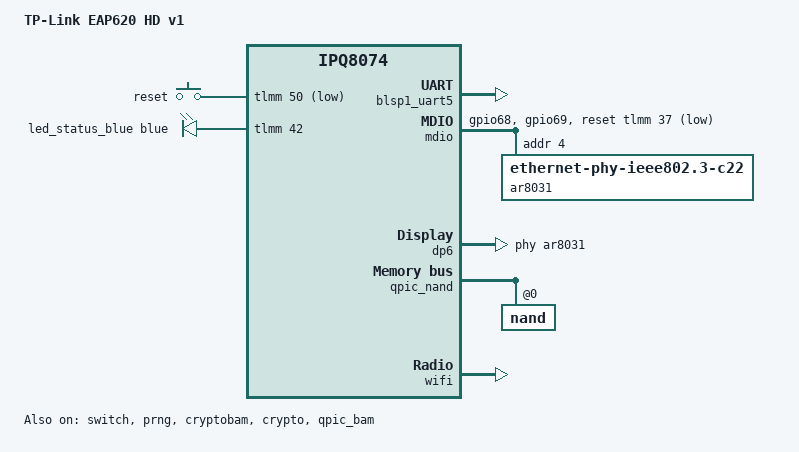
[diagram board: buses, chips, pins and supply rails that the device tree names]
// SPDX-License-Identifier: GPL-2.0-or-later OR BSD-2-Clause

/dts-v1/;

#include "ipq8074.dtsi"
#include "ipq8074-hk-cpu.dtsi"
#include "ipq8074-ess.dtsi"
#include <dt-bindings/leds/common.h>
#include <dt-bindings/input/input.h>
#include <dt-bindings/gpio/gpio.h>

/ {
	model = "TP-Link EAP620 HD v1";
	compatible = "tplink,eap620hd-v1", "qcom,ipq8074";

	aliases {
		serial0 = &blsp1_uart5;
		led-boot = &led_status_blue;
		led-failsafe = &led_status_blue;
		led-running = &led_status_blue;
		led-upgrade = &led_status_blue;
	};

	chosen {
		stdout-path = "serial0,115200n8";
		bootargs-append = " root=/dev/ubiblock0_1";
	};

	keys {
		compatible = "gpio-keys";

		reset {
			label = "reset";
			gpios = <&tlmm 50 GPIO_ACTIVE_LOW>;
			linux,code = <KEY_RESTART>;
		};
	};

	leds {
		compatible = "gpio-leds";

		led_status_blue: status-blue {
			function = LED_FUNCTION_STATUS;
			gpios = <&tlmm 42 GPIO_ACTIVE_HIGH>;
			color = <LED_COLOR_ID_BLUE>;
		};
	};
};

&blsp1_uart5 {
	status = "okay";
};

&tlmm {
	mdio_pins: mdio-pins {
		mdc {
			pins = "gpio68";
			function = "mdc";
			drive-strength = <8>;
			bias-pull-up;
		};

		mdio {
			pins = "gpio69";
			function = "mdio";
			drive-strength = <8>;
			bias-pull-up;
		};
	};
};

&mdio {
	status = "okay";
	#size-cells = <1>;
	pinctrl-0 = <&mdio_pins>;
	pinctrl-names = "default";
	reset-gpios = <&tlmm 37 GPIO_ACTIVE_LOW>;
	
	ar8031: ethernet-phy@4 {
		compatible = "ethernet-phy-ieee802.3-c22";
		reg = <4>;
	};
};

&dp6 {
	status = "okay";
	phy-handle = <&ar8031>;
	label = "lan";
};

&switch {
	status = "okay";
	switch_lan_bmp = <ESS_PORT6>;
	switch_mac_mode2 = <MAC_MODE_SGMII_CHANNEL0>;

	qcom,port_phyinfo {
		port@6 {
			phy_address = <4>;
			port_id = <6>;
		};
	};
};

&edma {
	status = "okay";
};

&prng {
	status = "okay";
};

&cryptobam {
	status = "okay";
};

&crypto {
	status = "okay";
};

&qpic_bam {
	status = "okay";
};

&qpic_nand {
	status = "okay";

	nand@0 {
		reg = <0>;
		nand-ecc-strength = <4>;
		nand-ecc-step-size = <512>;
		nand-bus-width = <8>;

		partitions {
			compatible = "qcom,smem-part";
		};
	};
};

&wifi {
	status = "okay";
	qcom,ath11k-calibration-variant = "TP-Link-EAP620-HD-v1";
};
